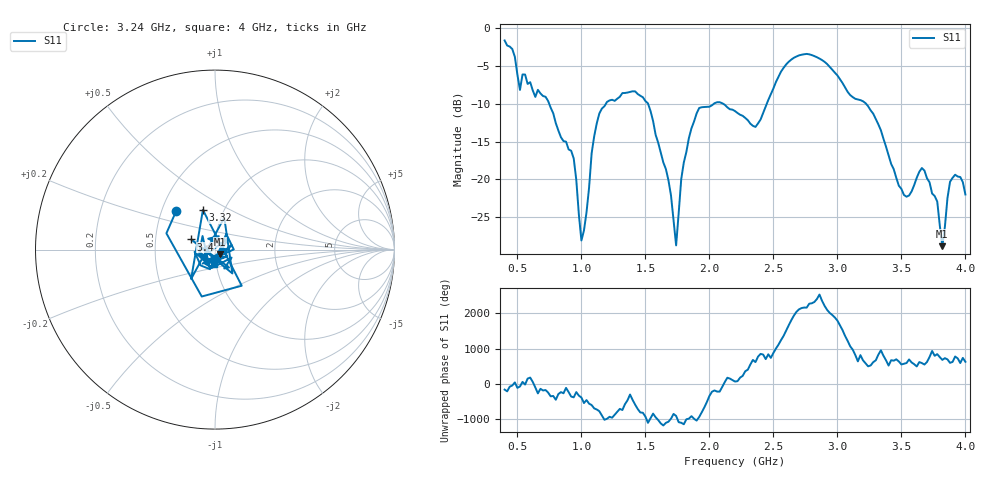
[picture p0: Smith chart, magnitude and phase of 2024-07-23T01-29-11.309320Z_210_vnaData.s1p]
!Created with skrf (http://scikit-rf.org).
# Hz S RI R 50.0
!freq ReS11 ImS11
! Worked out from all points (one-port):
!   181 points, 400 MHz to 4 GHz, reference 50 ohm
!   lowest |S11| = -28.8 dB at 3.82 GHz (marker M1), VSWR 1.08, Z = 52.7 - j2.53 ohm
!   |S11| at or under -10 dB: 748 MHz to 1.192 GHz (443.7 MHz wide, 45.8 % of centre); 1.521 GHz to 2.036 GHz (514.8 MHz wide, 28.9 % of centre); 3.223 GHz to end of sweep (the widest 3 of 4)
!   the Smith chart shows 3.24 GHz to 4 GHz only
!   S11 on the Smith chart (normalised r, x): 3.24 GHz: 0.59, +0.28; 3.32 GHz: 0.80, +0.37; 3.4 GHz: 0.76, +0.09; 4 GHz: 0.97, -0.16
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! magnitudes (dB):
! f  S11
! 400 MHz  -1.7
! 520 MHz  -8.2
! 560 MHz  -6.2
! 720 MHz  -9.1
! 860 MHz  -14.9
! 940 MHz  -17.2
! 1 GHz  -28.0
! 1.14 GHz  -11.3
! 1.3 GHz  -9.1
! 1.52 GHz  -10.0
! 1.68 GHz  -20.1
! 1.74 GHz  -28.7
! 1.76 GHz  -24.4
! 1.8 GHz  -17.8
! 1.92 GHz  -10.6
! 2.2 GHz  -11.0
! 2.36 GHz  -13.1
! 2.66 GHz  -3.9
! 3.1 GHz  -8.9
! 3.24 GHz  -10.3
! 3.32 GHz  -12.7
! 3.4 GHz  -16.8
! 3.56 GHz  -22.1
! 3.68 GHz  -18.8
! 3.78 GHz  -22.9
! 3.82 GHz  -28.8
! 3.88 GHz  -20.3
! 4 GHz  -22.0
